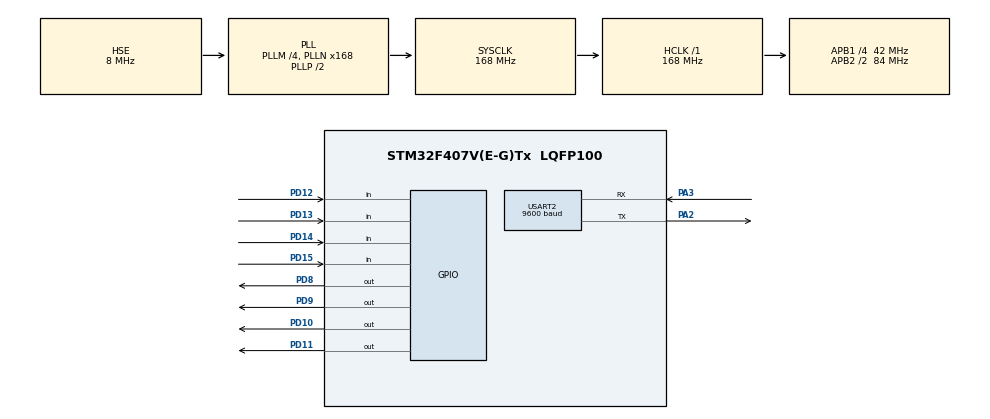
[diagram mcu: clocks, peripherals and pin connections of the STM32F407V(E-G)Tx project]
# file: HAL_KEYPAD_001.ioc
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Mcu.Family=STM32F4
Mcu.Name=STM32F407V(E-G)Tx
Mcu.Package=LQFP100
NVIC.PriorityGroup=NVIC_PRIORITYGROUP_4
PA13.Mode=Serial_Wire
PA13.Signal=SYS_JTMS-SWDIO
PA14.Mode=Serial_Wire
PA14.Signal=SYS_JTCK-SWCLK
PA2.Mode=Asynchronous
PA2.Signal=USART2_TX
PA3.Mode=Asynchronous
PA3.Signal=USART2_RX
PD10.Signal=GPIO_Output
PD11.Signal=GPIO_Output
PD12.Signal=GPIO_Input
PD13.Signal=GPIO_Input
PD14.Signal=GPIO_Input
PD15.Signal=GPIO_Input
PD8.Signal=GPIO_Output
PD9.Signal=GPIO_Output
PH0-OSC_IN.Mode=HSE-External-Oscillator
PH0-OSC_IN.Signal=RCC_OSC_IN
PH1-OSC_OUT.Mode=HSE-External-Oscillator
PH1-OSC_OUT.Signal=RCC_OSC_OUT
ProjectManager.HeapSize=0x200
ProjectManager.StackSize=0x400
ProjectManager.TargetToolchain=STM32CubeIDE
RCC.48MHZClocksFreq_Value=84000000
RCC.AHBFreq_Value=168000000
RCC.APB1CLKDivider=RCC_HCLK_DIV4
RCC.APB1Freq_Value=42000000
RCC.APB1TimFreq_Value=84000000
RCC.APB2CLKDivider=RCC_HCLK_DIV2
RCC.APB2Freq_Value=84000000
RCC.APB2TimFreq_Value=168000000
RCC.CortexFreq_Value=168000000
RCC.HCLKFreq_Value=168000000
RCC.HSE_VALUE=8000000
RCC.HSI_VALUE=16000000
RCC.LSE_VALUE=32768
RCC.PLLM=4
RCC.PLLN=168
RCC.PLLSourceVirtual=RCC_PLLSOURCE_HSE
RCC.SYSCLKFreq_VALUE=168000000
RCC.SYSCLKSource=RCC_SYSCLKSOURCE_PLLCLK
RCC.VCOOutputFreq_Value=336000000
USART2.BaudRate=9600
USART2.Mode=MODE_TX_RX
USART2.VirtualMode=VM_ASYNC
board=custom

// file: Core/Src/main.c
/* USER CODE BEGIN Header */
/**
  ******************************************************************************
  * @file           : main.c
  * @brief          : Main program body
  ******************************************************************************
  * @attention
  *
  * Copyright (c) 2024 STMicroelectronics.
  * All rights reserved.
  *
  * This software is licensed under terms that can be found in the LICENSE file
  * in the root directory of this software component.
  * If no LICENSE file comes with this software, it is provided AS-IS.
  *
  ******************************************************************************
  */
/* USER CODE END Header */
#include "main.h"

/* USER CODE BEGIN Includes */
#include "string.h"

// Define the ports of the row and column pin connections.
#define ROWCOL_PORT GPIOD

// Define the row pins.
#define ROW1_PIN GPIO_PIN_8
#define ROW2_PIN GPIO_PIN_9
#define ROW3_PIN GPIO_PIN_10
#define ROW4_PIN GPIO_PIN_11

// Define the column pins.
#define COL1_PIN GPIO_PIN_12
#define COL2_PIN GPIO_PIN_13
#define COL3_PIN GPIO_PIN_14
#define COL4_PIN GPIO_PIN_15

char TxData;

/* USER CODE END Includes */

UART_HandleTypeDef huart2;

void SystemClock_Config(void);
static void MX_GPIO_Init(void);
static void MX_USART2_UART_Init(void);

int main(void)
{

  /* MCU Configuration--------------------------------------------------------*/

  /* Reset of all peripherals, Initializes the Flash interface and the Systick. */
  HAL_Init();

  /* Configure the system clock */
  SystemClock_Config();

  /* Initialize all configured peripherals */
  MX_GPIO_Init();
  MX_USART2_UART_Init();

  /* Infinite loop */
  while (1)
  {

    /* USER CODE BEGIN 3 */
	  HAL_GPIO_WritePin(ROWCOL_PORT,ROW1_PIN,GPIO_PIN_RESET);
	  HAL_GPIO_WritePin(ROWCOL_PORT,ROW2_PIN,GPIO_PIN_SET);
	  HAL_GPIO_WritePin(ROWCOL_PORT,ROW3_PIN,GPIO_PIN_SET);
	  HAL_GPIO_WritePin(ROWCOL_PORT,ROW4_PIN,GPIO_PIN_SET);

	  if(!(HAL_GPIO_ReadPin(ROWCOL_PORT,COL1_PIN)))
	  {
		  while(HAL_GPIO_ReadPin(ROWCOL_PORT,COL1_PIN));
		  TxData = '1';
		  HAL_UART_Transmit(&huart2,(uint8_t*)&TxData, sizeof(TxData), 100);
	  }
	  else if(!(HAL_GPIO_ReadPin(ROWCOL_PORT,COL2_PIN)))
	  {
		  while(HAL_GPIO_ReadPin(ROWCOL_PORT,COL2_PIN));
		  TxData = '2';
		  HAL_UART_Transmit(&huart2,(uint8_t*)&TxData, sizeof(TxData), 100);
	  }
	  else if(!(HAL_GPIO_ReadPin(ROWCOL_PORT,COL3_PIN)))
	  {
		  while(HAL_GPIO_ReadPin(ROWCOL_PORT,COL3_PIN));
		  TxData = '3';
		  HAL_UART_Transmit(&huart2,(uint8_t*)&TxData, sizeof(TxData), 100);
	  }
	  else if(!(HAL_GPIO_ReadPin(ROWCOL_PORT,COL4_PIN)))
	  {
		  while(HAL_GPIO_ReadPin(ROWCOL_PORT,COL4_PIN));
		  TxData = 'A';
		  HAL_UART_Transmit(&huart2,(uint8_t*)&TxData, sizeof(TxData), 100);
	  }

	  HAL_GPIO_WritePin(ROWCOL_PORT,ROW2_PIN,GPIO_PIN_RESET);
	  HAL_GPIO_WritePin(ROWCOL_PORT,ROW1_PIN,GPIO_PIN_SET);
	  HAL_GPIO_WritePin(ROWCOL_PORT,ROW3_PIN,GPIO_PIN_SET);
	  HAL_GPIO_WritePin(ROWCOL_PORT,ROW4_PIN,GPIO_PIN_SET);

	  if(!(HAL_GPIO_ReadPin(ROWCOL_PORT,COL1_PIN)))
	  {
		  while(HAL_GPIO_ReadPin(ROWCOL_PORT,COL1_PIN));
		  TxData = '4';
		  HAL_UART_Transmit(&huart2,(uint8_t*)&TxData, sizeof(TxData), 100);
	  }
	  else if(!(HAL_GPIO_ReadPin(ROWCOL_PORT,COL2_PIN)))
	  {
		  while(HAL_GPIO_ReadPin(ROWCOL_PORT,COL2_PIN));
		  TxData = '5';
		  HAL_UART_Transmit(&huart2,(uint8_t*)&TxData, sizeof(TxData), 100);
	  }
	  else if(!(HAL_GPIO_ReadPin(ROWCOL_PORT,COL3_PIN)))
	  {
		  while(HAL_GPIO_ReadPin(ROWCOL_PORT,COL3_PIN));
		  TxData = '6';
		  HAL_UART_Transmit(&huart2,(uint8_t*)&TxData, sizeof(TxData), 100);
	  }
	  else if(!(HAL_GPIO_ReadPin(ROWCOL_PORT,COL4_PIN)))
	  {
		  while(HAL_GPIO_ReadPin(ROWCOL_PORT,COL4_PIN));
		  TxData = 'B';
		  HAL_UART_Transmit(&huart2,(uint8_t*)&TxData, sizeof(TxData), 100);
	  }

	  HAL_GPIO_WritePin(ROWCOL_PORT,ROW3_PIN,GPIO_PIN_RESET);
	  HAL_GPIO_WritePin(ROWCOL_PORT,ROW1_PIN,GPIO_PIN_SET);
	  HAL_GPIO_WritePin(ROWCOL_PORT,ROW2_PIN,GPIO_PIN_SET);
	  HAL_GPIO_WritePin(ROWCOL_PORT,ROW4_PIN,GPIO_PIN_SET);

	  if(!(HAL_GPIO_ReadPin(ROWCOL_PORT,COL1_PIN)))
	  {
		  while(HAL_GPIO_ReadPin(ROWCOL_PORT,COL1_PIN));
		  TxData = '7';
		  HAL_UART_Transmit(&huart2,(uint8_t*)&TxData, sizeof(TxData), 100);
	  }
	  else if(!(HAL_GPIO_ReadPin(ROWCOL_PORT,COL2_PIN)))
	  {
		  while(HAL_GPIO_ReadPin(ROWCOL_PORT,COL2_PIN));
		  TxData = '8';
		  HAL_UART_Transmit(&huart2,(uint8_t*)&TxData, sizeof(TxData), 100);
	  }
	  else if(!(HAL_GPIO_ReadPin(ROWCOL_PORT,COL3_PIN)))
	  {
		  while(HAL_GPIO_ReadPin(ROWCOL_PORT,COL3_PIN));
		  TxData = '9';
		  HAL_UART_Transmit(&huart2,(uint8_t*)&TxData, sizeof(TxData), 100);
	  }
	  else if(!(HAL_GPIO_ReadPin(ROWCOL_PORT,COL4_PIN)))
	  {
		  while(HAL_GPIO_ReadPin(ROWCOL_PORT,COL4_PIN));
		  TxData = 'C';
		  HAL_UART_Transmit(&huart2,(uint8_t*)&TxData, sizeof(TxData), 100);
	  }

	  HAL_GPIO_WritePin(ROWCOL_PORT,ROW4_PIN,GPIO_PIN_RESET);
	  HAL_GPIO_WritePin(ROWCOL_PORT,ROW1_PIN,GPIO_PIN_SET);
	  HAL_GPIO_WritePin(ROWCOL_PORT,ROW2_PIN,GPIO_PIN_SET);
	  HAL_GPIO_WritePin(ROWCOL_PORT,ROW3_PIN,GPIO_PIN_SET);

	  if(!(HAL_GPIO_ReadPin(ROWCOL_PORT,COL1_PIN)))
	  {
		  while(HAL_GPIO_ReadPin(ROWCOL_PORT,COL1_PIN));
		  TxData = '*';
		  HAL_UART_Transmit(&huart2,(uint8_t*)&TxData, sizeof(TxData), 100);
	  }
	  else if(!(HAL_GPIO_ReadPin(ROWCOL_PORT,COL2_PIN)))
	  {
		  while(HAL_GPIO_ReadPin(ROWCOL_PORT,COL2_PIN));
		  TxData = '0';
		  HAL_UART_Transmit(&huart2,(uint8_t*)&TxData, sizeof(TxData), 100);
	  }
	  else if(!(HAL_GPIO_ReadPin(ROWCOL_PORT,COL3_PIN)))
	  {
		  while(HAL_GPIO_ReadPin(ROWCOL_PORT,COL3_PIN));
		  TxData = '#';
		  HAL_UART_Transmit(&huart2,(uint8_t*)&TxData, sizeof(TxData), 100);
	  }
	  else if(!(HAL_GPIO_ReadPin(ROWCOL_PORT,COL4_PIN)))
	  {
		  while(HAL_GPIO_ReadPin(ROWCOL_PORT,COL4_PIN));
		  TxData = 'D';
		  HAL_UART_Transmit(&huart2,(uint8_t*)&TxData, sizeof(TxData), 100);
	  }

  }
  /* USER CODE END 3 */
}

void SystemClock_Config(void)
{
  RCC_OscInitTypeDef RCC_OscInitStruct = {0};
  RCC_ClkInitTypeDef RCC_ClkInitStruct = {0};

  /** Configure the main internal regulator output voltage
  */
  __HAL_RCC_PWR_CLK_ENABLE();
  __HAL_PWR_VOLTAGESCALING_CONFIG(PWR_REGULATOR_VOLTAGE_SCALE1);

  /** Initializes the RCC Oscillators according to the specified parameters
  * in the RCC_OscInitTypeDef structure.
  */
  RCC_OscInitStruct.OscillatorType = RCC_OSCILLATORTYPE_HSE;
  RCC_OscInitStruct.HSEState = RCC_HSE_ON;
  RCC_OscInitStruct.PLL.PLLState = RCC_PLL_ON;
  RCC_OscInitStruct.PLL.PLLSource = RCC_PLLSOURCE_HSE;
  RCC_OscInitStruct.PLL.PLLM = 4;
  RCC_OscInitStruct.PLL.PLLN = 168;
  RCC_OscInitStruct.PLL.PLLP = RCC_PLLP_DIV2;
  RCC_OscInitStruct.PLL.PLLQ = 4;
  if (HAL_RCC_OscConfig(&RCC_OscInitStruct) != HAL_OK)
  {
    Error_Handler();
  }

  /** Initializes the CPU, AHB and APB buses clocks
  */
  RCC_ClkInitStruct.ClockType = RCC_CLOCKTYPE_HCLK|RCC_CLOCKTYPE_SYSCLK
                              |RCC_CLOCKTYPE_PCLK1|RCC_CLOCKTYPE_PCLK2;
  RCC_ClkInitStruct.SYSCLKSource = RCC_SYSCLKSOURCE_PLLCLK;
  RCC_ClkInitStruct.AHBCLKDivider = RCC_SYSCLK_DIV1;
  RCC_ClkInitStruct.APB1CLKDivider = RCC_HCLK_DIV4;
  RCC_ClkInitStruct.APB2CLKDivider = RCC_HCLK_DIV2;

  if (HAL_RCC_ClockConfig(&RCC_ClkInitStruct, FLASH_LATENCY_5) != HAL_OK)
  {
    Error_Handler();
  }
}

static void MX_USART2_UART_Init(void)
{

  huart2.Instance = USART2;
  huart2.Init.BaudRate = 9600;
  huart2.Init.WordLength = UART_WORDLENGTH_8B;
  huart2.Init.StopBits = UART_STOPBITS_1;
  huart2.Init.Parity = UART_PARITY_NONE;
  huart2.Init.Mode = UART_MODE_TX_RX;
  huart2.Init.HwFlowCtl = UART_HWCONTROL_NONE;
  huart2.Init.OverSampling = UART_OVERSAMPLING_16;
  if (HAL_UART_Init(&huart2) != HAL_OK)
  {
    Error_Handler();
  }

}

static void MX_GPIO_Init(void)
{
  GPIO_InitTypeDef GPIO_InitStruct = {0};

  /* GPIO Ports Clock Enable */
  __HAL_RCC_GPIOH_CLK_ENABLE();
  __HAL_RCC_GPIOA_CLK_ENABLE();
  __HAL_RCC_GPIOD_CLK_ENABLE();

  /*Configure GPIO pin Output Level */
  HAL_GPIO_WritePin(GPIOD, GPIO_PIN_8|GPIO_PIN_9|GPIO_PIN_10|GPIO_PIN_11, GPIO_PIN_RESET);

  /*Configure GPIO pins : PD8 PD9 PD10 PD11 */
  GPIO_InitStruct.Pin = GPIO_PIN_8|GPIO_PIN_9|GPIO_PIN_10|GPIO_PIN_11;
  GPIO_InitStruct.Mode = GPIO_MODE_OUTPUT_PP;
  GPIO_InitStruct.Pull = GPIO_NOPULL;
  GPIO_InitStruct.Speed = GPIO_SPEED_FREQ_LOW;
  HAL_GPIO_Init(GPIOD, &GPIO_InitStruct);

  /*Configure GPIO pins : PD12 PD13 PD14 PD15 */
  GPIO_InitStruct.Pin = GPIO_PIN_12|GPIO_PIN_13|GPIO_PIN_14|GPIO_PIN_15;
  GPIO_InitStruct.Mode = GPIO_MODE_INPUT;
  GPIO_InitStruct.Pull = GPIO_NOPULL;
  HAL_GPIO_Init(GPIOD, &GPIO_InitStruct);

}

void Error_Handler(void)
{
  __disable_irq();
  while (1)
  {
  }
}
